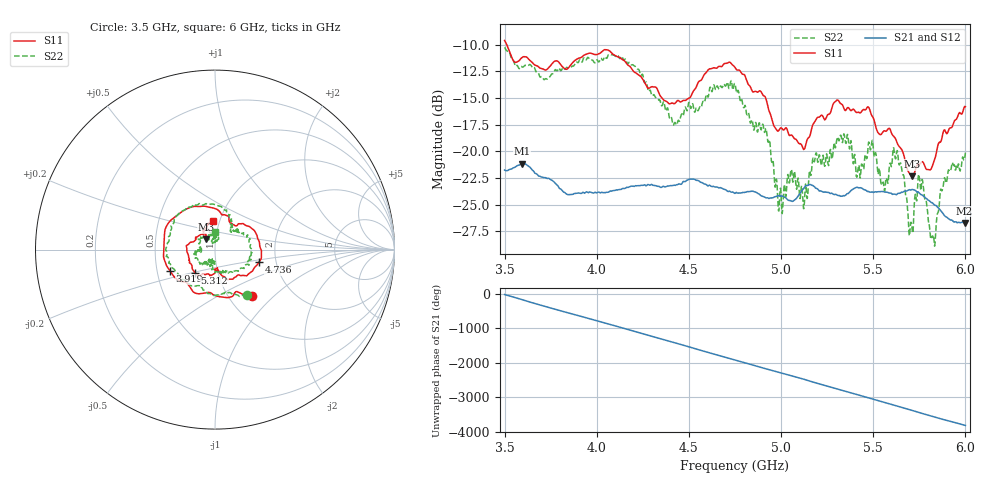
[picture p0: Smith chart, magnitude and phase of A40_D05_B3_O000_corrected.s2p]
! Created with skrf 1.9.0 (http://scikit-rf.org).
# Hz S RI R 50.0
!freq ReS11 ImS11 ReS21 ImS21 ReS12 ImS12 ReS22 ImS22
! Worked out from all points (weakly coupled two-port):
!   1601 points, 3.5 GHz to 6 GHz, reference 50 ohm
!   highest |S21| = -21.15 dB at 3.594 GHz (marker M1); lowest = -26.7 dB at 5.995 GHz (marker M2)
!   lowest |S11| = -22.3 dB at 5.713 GHz (marker M3), VSWR 1.17, Z = 45 + j5.27 ohm
!   |S11| at or under -10 dB: 3.512 GHz to end of sweep
!   |S22| runs from -28.9 to -10.2 dB; largest |S21 - S12| = 0.0013
!   S11 on the Smith chart (normalised r, x): 3.5 GHz: 1.28, -0.74; 3.919 GHz: 0.59, -0.15; 4.736 GHz: 1.62, -0.25; 5.312 GHz: 0.77, -0.21; 6 GHz: 0.93, +0.31
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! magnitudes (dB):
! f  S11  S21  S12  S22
! 3.5 GHz  -9.6  -21.8  -21.7  -10.2
! 3.594 GHz  -11.2  -21.1  -21.1  -12.1
! 3.917 GHz  -11.2  -23.9  -23.9  -11.6
! 3.919 GHz  -11.1  -23.9  -23.9  -11.6
! 4.145 GHz  -11.4  -23.5  -23.4  -11.4
! 4.334 GHz  -14.4  -23.3  -23.2  -15.1
! 4.425 GHz  -15.5  -23.2  -23.1  -17.3
! 4.736 GHz  -11.9  -23.8  -23.8  -14.0
! 4.75 GHz  -12.1  -23.9  -23.8  -13.7
! 4.912 GHz  -14.9  -24.3  -24.2  -18.2
! 4.995 GHz  -17.8  -24.2  -24.1  -23.5
! 5.131 GHz  -19.6  -23.3  -23.2  -23.3
! 5.167 GHz  -17.8  -23.2  -23.1  -21.4
! 5.312 GHz  -15.3  -24.1  -24.1  -19.0
! 5.584 GHz  -17.8  -23.9  -23.8  -22.1
! 5.638 GHz  -19.5  -23.9  -23.9  -21.1
! 5.713 GHz  -22.3  -23.6  -23.5  -27.6
! 5.756 GHz  -21.1  -24.0  -23.9  -23.4
! 5.827 GHz  -21.1  -24.9  -24.8  -27.9
! 5.877 GHz  -18.4  -25.8  -25.7  -23.5
! 5.995 GHz  -15.8  -26.7  -26.6  -20.7
! 6 GHz  -15.8  -26.7  -26.6  -20.1
